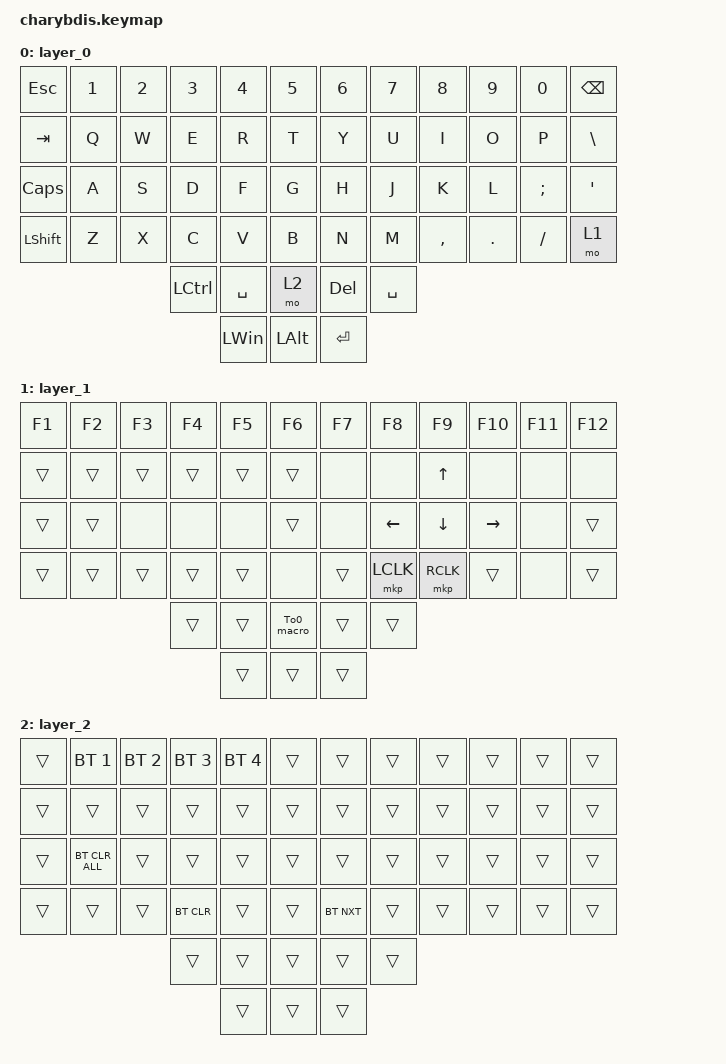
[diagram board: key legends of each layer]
#include <behaviors.dtsi>
#include <dt-bindings/zmk/bt.h>
#include <dt-bindings/zmk/keys.h>
#include <dt-bindings/zmk/pointing.h>
#include <dt-bindings/zmk/rgb.h>

&lt {
    tapping-term-ms = <200>;
    flavor = "balanced";
    quick-tap-ms = <150>;
};

/ {
    macros {
        To1_macro: To1_macro {
            compatible = "zmk,behavior-macro";
            label = "To1_macro";
            #binding-cells = <0>;
            bindings = <&rgb_ug RGB_EFF &rgb_ug RGB_COLOR_HSB(128,100,50) &to 1>;
        };

        To0_macro: To0_macro {
            compatible = "zmk,behavior-macro";
            label = "To0_macro";
            #binding-cells = <0>;
            bindings = <&rgb_ug RGB_EFR &to 0>;
        };

        To2_macro: To2_macro {
            compatible = "zmk,behavior-macro";
            label = "To2_macro";
            #binding-cells = <0>;
            bindings =
                <&to 2>,
                <&macro_wait_time 30>,
                <&rgb_ug RGB_COLOR_HSB(250,100,50)>;
        };
    };

    keymap {
        compatible = "zmk,keymap";

        layer_0 {
            bindings = <
&kp ESC         &kp N1  &kp N2  &kp N3            &kp N4        &kp N5          &kp N6      &kp N7     &kp N8     &kp N9   &kp N0    &kp BACKSPACE
&kp TAB         &kp Q   &kp W   &kp E             &kp R         &kp T           &kp Y       &kp U      &kp I      &kp O    &kp P     &kp BSLH
&kp CAPSLOCK    &kp A   &kp S   &kp D             &kp F         &kp G           &kp H       &kp J      &kp K      &kp L    &kp SEMI  &kp SQT
&kp LEFT_SHIFT  &kp Z   &kp X   &kp C             &kp V         &kp B           &kp N       &kp M      &kp COMMA  &kp DOT  &kp FSLH  &mo 1
                                &kp LEFT_CONTROL  &kp SPACE     &mo 2           &kp DELETE  &kp SPACE
                                                  &kp LEFT_WIN  &kp LEFT_ALT    &kp ENTER
            >;
        };

        layer_1 {
            bindings = <
&kp F1  &kp F2  &kp F3  &kp F4  &kp F5  &kp F6        &kp F7  &kp F8     &kp F9     &kp F10    &kp F11  &kp F12
&trans  &trans  &trans  &trans  &trans  &trans        &none   &none      &kp UP     &none      &none    &none
&trans  &trans  &none   &none   &none   &trans        &none   &kp LEFT   &kp DOWN   &kp RIGHT  &none    &trans
&trans  &trans  &trans  &trans  &trans  &none         &trans  &mkp LCLK  &mkp RCLK  &trans     &none    &trans
                        &trans  &trans  &To0_macro    &trans  &trans
                                &trans  &trans        &trans
            >;
        };

        layer_2 {
            bindings = <
&trans  &bt BT_SEL 1    &bt BT_SEL 2  &bt BT_SEL 3  &bt BT_SEL 4  &trans    &trans      &trans  &trans  &trans  &trans  &trans
&trans  &trans          &trans        &trans        &trans        &trans    &trans      &trans  &trans  &trans  &trans  &trans
&trans  &bt BT_CLR_ALL  &trans        &trans        &trans        &trans    &trans      &trans  &trans  &trans  &trans  &trans
&trans  &trans          &trans        &bt BT_CLR    &trans        &trans    &bt BT_NXT  &trans  &trans  &trans  &trans  &trans
                                      &trans        &trans        &trans    &trans      &trans
                                                    &trans        &trans    &trans
            >;
        };
    };
};
